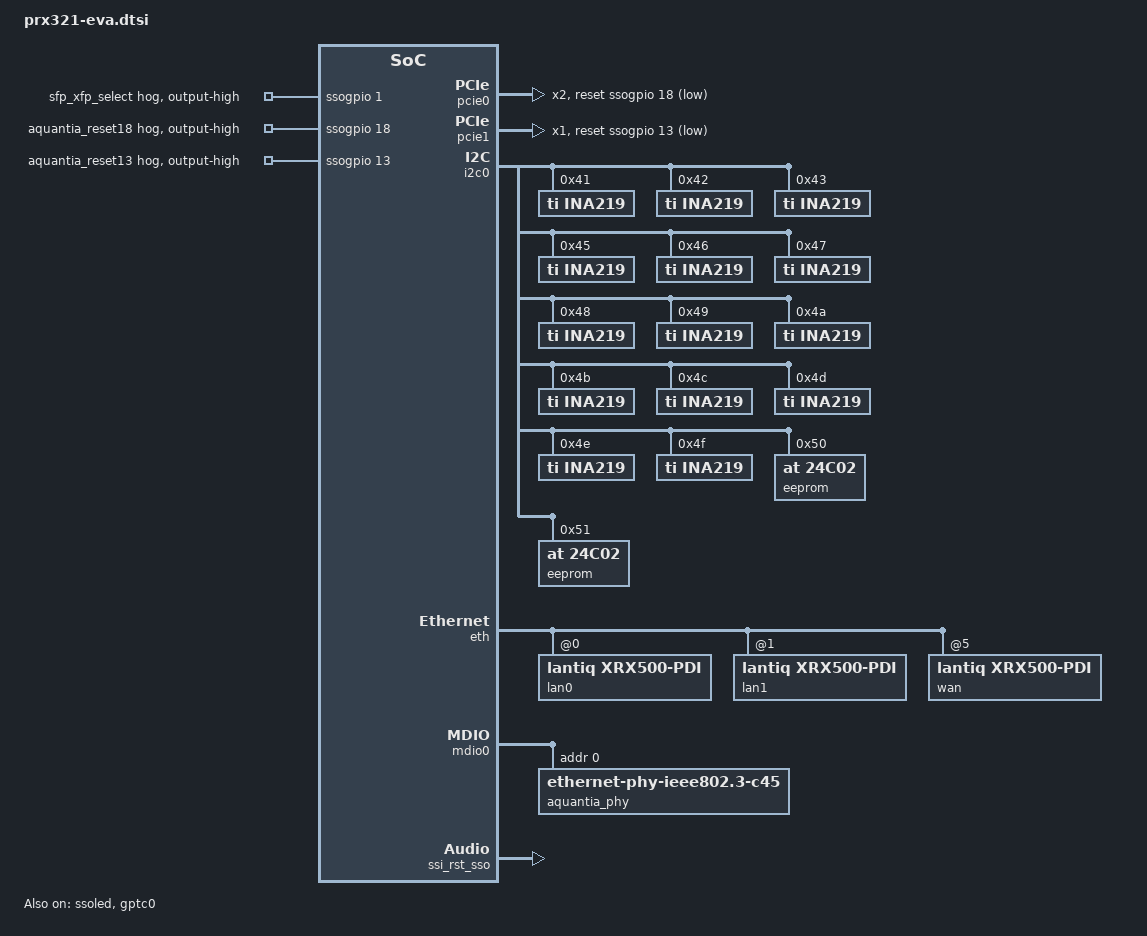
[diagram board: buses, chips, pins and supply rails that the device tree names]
#include <dt-bindings/interrupt-controller/mips-gic.h>
#include <dt-bindings/gpio/gpio.h>
#include "prx300.dtsi"

/******************************************************************************
 ** Board configuration: Enable PCIe board configuration.
 ** PCIE sub-system feature configuration, the pcie0/1 are defined in Soc level
 ******************************************************************************/
&pcie0 {
	intel,rst-interval = <200>;
	intel,inbound-swap = <1>;
	intel,outbound-swap = <0>;
	reset-gpios = <&ssogpio 18 GPIO_ACTIVE_LOW>;
	num-lanes = <2>;
};

&pcie1 {
	intel,rst-interval = <200>;
	intel,inbound-swap = <1>;
	intel,outbound-swap = <0>;
	reset-gpios = <&ssogpio 13 GPIO_ACTIVE_LOW>;
	num-lanes = <1>;
};

/******************************************************************************
 ** Board configuration: Enable dect SS.
 ******************************************************************************/
/ {
	dect {
		compatible = "intel,inteldect";
		interrupts = <21 IRQ_TYPE_EDGE_FALLING>;
		interrupt-parent = <&gpio0>;
		intel,dect-cs = <&gpio0 29 0>;
		intel,dect-reset = <&ssogpio 19 0>;
		status = "disabled";
	};
	dect-page-intel {
		compatible = "intel,inteldect-page";
		lantiq,pagebit= <1>; /*DECT Page Bit: Bit info meant for DECT*/
		lantiq,pagepin= <&gpio0 28 0>;
		status = "disabled";
	};
};

/******************************************************************************
 ** Board configuration: Enable Shift register LED board configuration.
 ******************************************************************************/
&ssogpio {
	status = "okay";
	intel,sso-update-rate = <250000>;
	/* Shift clk freq: 25MHz, 12.5MHz, 6.25MHz, 3.125Mz */
	intel,sso-shift-clk-freq = <6250000>;

	/* Select the WAN SFP cage over the WAN XFP cage in ref 1.2 */
	sfp_xfp_select {
		gpio-hog;
		gpios = <1 GPIO_ACTIVE_HIGH>;
		output-high;
		line-name = "sfp_xfp_select";
	};

	/* Aquantia PHY reset on board rev 1.1 only */
	aquantia_reset18 {
		gpio-hog;
		gpios = <18 GPIO_ACTIVE_HIGH>;
		output-high;
		line-name = "aquantia_reset18";
	};

	/* Aquantia PHY reset on board rev 1.2 and later */
	aquantia_reset13 {
		gpio-hog;
		gpios = <13 GPIO_ACTIVE_HIGH>;
		output-high;
		line-name = "aquantia_reset13";
	};
};

&ssoled {
	status = "okay";

	/* led definition */
	intel,sso-def-brightness = <0>; /* default off */
	/*
	 * All pin numbers here are (31-original number) for the V1.1 board.
	 * TODO: Define default jumpers for the other LEDs!
	 *
	 * Deactivate the pins which conflict with some non SW LEDs in
	 * Ref 1.2 boards.
	 */
	led4: led4 {
		status = "disabled";
		label = "led4:green:sw";
		led-gpio = <&ssogpio 4 0>;
		intel,led-pin = <4>;
	};
	led5: led5 {
		status = "disabled";
		label = "led5:green:sw";
		led-gpio = <&ssogpio 5 0>;
		intel,led-pin = <5>;
	};
	led6: led6 {
		label = "led6:green:sw";
		led-gpio = <&ssogpio 6 0>;
		intel,led-pin = <6>;
	};
	led7: led7 {
		status = "disabled";
		label = "led7:green:sw";
		led-gpio = <&ssogpio 7 0>;
		intel,led-pin = <7>;
	};
};

/******************************************************************************
 ** Board configuration: Enable CoC power management board feature
 ******************************************************************************/
&i2c0 {
	status = "okay";

	/* power monitor */
	ina219@41 {
		compatible = "ti,ina219";
		reg = <0x41>;
		shunt-resistor = <10000>;
		rail-name = "PWR_12V";
	};

	ina219@42 {
		compatible = "ti,ina219";
		reg = <0x42>;
		shunt-resistor = <10000>;
		rail-name = "PWR_3V3";
	};

	ina219@43 {
		compatible = "ti,ina219";
		reg = <0x43>;
		shunt-resistor = <10000>;
		rail-name = "PWR_1V2_1V35";
	};

	ina219@45 {
		compatible = "ti,ina219";
		reg = <0x45>;
		shunt-resistor = <10000>;
		rail-name = "PWR_0V9";
	};

	ina219@46 {
		compatible = "ti,ina219";
		reg = <0x46>;
		shunt-resistor = <10000>;
		rail-name = "PWR_1V8";
	};

	ina219@47 {
		compatible = "ti,ina219";
		reg = <0x47>;
		shunt-resistor = <10000>;
		rail-name = "PWR_1V5";
	};

	ina219@48 {
		compatible = "ti,ina219";
		reg = <0x48>;
		shunt-resistor = <10000>;
		rail-name = "PWR_1V1";
	};

	ina219@49 {
		compatible = "ti,ina219";
		reg = <0x49>;
		shunt-resistor = <10000>;
		rail-name = "PWR_1V8_3V3";
	};

	ina219@4a {
		compatible = "ti,ina219";
		reg = <0x4a>;
		shunt-resistor = <10000>;
		rail-name = "PWR_3V3_TID0";
	};

	ina219@4b {
		compatible = "ti,ina219";
		reg = <0x4b>;
		shunt-resistor = <10000>;
		rail-name = "PWR_3V3_SFP";
	};

	ina219@4c {
		compatible = "ti,ina219";
		reg = <0x4c>;
		shunt-resistor = <10000>;
		rail-name = "PWR_3V3_TID1";
	};

	ina219@4d {
		compatible = "ti,ina219";
		reg = <0x4d>;
		shunt-resistor = <10000>;
		rail-name = "PWR_3V3_SHR";
	};

	ina219@4e {
		compatible = "ti,ina219";
		reg = <0x4e>;
		shunt-resistor = <10000>;
		rail-name = "PWR_3V3_WAN";
	};

	ina219@4f {
		compatible = "ti,ina219";
		reg = <0x4f>;
		shunt-resistor = <10000>;
		rail-name = "PWR_2V5";
	};

	/* EEPROM of the optical WAN transceiver */
	eeprom@50 {
		compatible = "at,24c02";
		reg = <0x50>;
	};
	eeprom@51 {
		compatible = "at,24c02";
		reg = <0x51>;
	};
};

/******************************************************************************
 ** Board configuration: Enable SSC1 to support standard SPI devices (SPI Flash)
 ******************************************************************************/
/*
&ssc1 {
		status="okay";
		mt29f@0 {
				#address-cells = <1>;
				#size-cells = <1>;
				reg = <0 1>;
				compatible = "spinand,mt29f";
				linux,modalias = "mt29f";
				spi-max-frequency = <1000000>;

				partition@0 {
					label = "uboot";
					reg = <0x000000 0x100000>;
				};

				partition@100000 {
					label = "data";
					reg = <0x100000 0x1000000>;
				};

				partition@1100000 {
					label = "res";
					reg = <0x1100000 0x6E00000>;
				};
			};
};
*/
/******************************************************************************
 ** Board configuration: Configure LAN/WAN interfaces
 ******************************************************************************/
&eth {
	status = "okay";

	lan0: interface@0 {
		compatible = "lantiq,xrx500-pdi";
		#address-cells = <1>;
		#size-cells = <0>;
		reg = <0>;
		intel,dp-dev-port = <3>;
		intel,dp-port-id = <3>;
		mac = <&gsw_mac1>;
		intel,lct-en = <1>;
		intel,extra-subif = <3>;

		ethernet@1 {
			compatible = "lantiq,xrx500-pdi-port";
			reg = <1>;
			phy-mode = "rgmii";
			phy-handle = <&aquantia_phy>;
		};
	};

	lan1: interface@1 {
		compatible = "lantiq,xrx500-pdi";
		#address-cells = <1>;
		#size-cells = <0>;
		reg = <1>;
		intel,dp-dev-port = <4>;
		intel,dp-port-id = <4>;
		mac = <&gsw_mac2>;
		intel,lct-en = <1>;
		intel,extra-subif = <3>;

		lan1_eth: ethernet@1 {
			compatible = "lantiq,xrx500-pdi-port";
			reg = <2>;
			phy-mode = "rgmii";
		};
	};

	wan: interface@5 {
		compatible = "lantiq,xrx500-pdi";
		#address-cells = <1>;
		#size-cells = <0>;
		reg = <5>;
		lantiq,wan = <1>;
		intel,dp-dev-port = <2>;
		intel,dp-port-id = <2>;
		mac = <&gsw_mac0>;

		ethernet@5 {
			compatible = "lantiq,xrx500-pdi-port";
			reg = <1>;
			phy-mode = "rgmii";
		};
	};
};

/* xgmac mdio pins */
&gsw_mac1 {
	pinctrl-names = "default";
	pinctrl-0 = <&pinctrl_mdio0>;
};

/* mdio0 bus */
&mdio0 {
	#address-cells = <1>;
	#size-cells = <0>;
	aquantia_phy: ethernet-phy@0 {
		reg = <0x0>;
		compatible = "ethernet-phy-ieee802.3-c45";
	};
};

/* This is needed to improve qspi stability on the board */
&pinctrl_qspi {
	intel,slew-rate = <1>;
	intel,drive-current = <3>;
};

&pinctrl_spi0_alt {
	intel,slew-rate = <1>;
	intel,drive-current = <3>;
};

&pinctrl_spi0_cs_alt {
	intel,slew-rate = <1>;
	intel,drive-current = <3>;
};

&ssc0 {
	pinctrl-0 = <&pinctrl_spi0_alt &pinctrl_spi0_cs_alt>;

	ltq-spinand@1 {
		status = "disabled";
		#address-cells = <1>;
		#size-cells = <1>;
		reg = <1>;
		compatible = "lantiq,spinand";
		linux,mtd-name = "nand.0";
		spi-max-frequency = <15384615>;
	};

	mx25l12835f@1 {
		status = "disabled";
		#address-cells = <1>;
		#size-cells = <1>;
		compatible = "jedec,spi-nor";
		reg = <1>;
		spi-max-frequency = <15384615>;
	};
};

&qspi0 {
	ltq-spinand@0 {
		status = "disabled";
		#address-cells = <1>;
		#size-cells = <1>;
		compatible = "lantiq,spinand";
		reg = <0 1>;
		linux,mtd-name = "nand.0";
		spi-max-frequency = <50000000>;
		page-size = <2048>;
		block-size = <17>; // 2^17, 128KB
		spi-tx-bus-width = <4>;
		spi-rx-bus-width = <4>;

		/* Read-delay is needed for higher freq.
		 * 2 ref_clk is chosen as value that works well upto
		 * spi-freq 50MHz (with ref_clk 100MHz).
		 */
		read-delay = <2>;
		tshsl-ns = <200>;
		tsd2d-ns = <255>;
		tchsh-ns = <20>;
		tslch-ns = <20>;
	};

	mx25l12835f@0 {
		status = "disabled";
		#address-cells = <1>;
		#size-cells = <1>;
		compatible = "jedec,spi-nor";
		reg = <0 1>;
		page-size = <256>;
		block-size = <16>; // 2^16, 64KB
		spi-max-frequency = <50000000>;
		spi-tx-bus-width = <4>;
		spi-rx-bus-width = <4>;

		/* Read-delay is needed for higher freq.
		 * 2 ref_clk is chosen as value that works well upto
		 * spi-freq 50MHz (with ref_clk 100MHz).
		 */
		read-delay = <2>;
		tshsl-ns = <200>;
		tsd2d-ns = <255>;
		tchsh-ns = <20>;
		tslch-ns = <20>;
	};
};

&wan_xpcs {
	status = "disabled";
	xpcs-conntype = "SFP"; /* SFP or PHY */
};

&lan_xpcs0 {
	status = "disabled";
	xpcs-conntype = "SFP"; /* SFP or PHY */
	xpcs-mode = <0>; /* 0 - 10G_KR_MODE, 1 - 10G_XAUI_MODE, 2 - 1G_XAUI_MODE, 3 - 2P5G_GMII_MODE */
};

&lan_xpcs1 {
	status = "disabled";
	xpcs-conntype = "SFP"; /* SFP or PHY */
};

/******************************************************************************
 ** Board configuration: Enable voice
 ******************************************************************************/

/* use CPU1 for voice firmware */
&cpu1 {
	default-OS = "VOICEFW";
};

/* Use SSO pin 15 for SLC220 reset.
   To use GPIO9 as SLC220 reset comment out the ssi_rst_sso and vcodec block. */
&ssi_rst_sso {
	status = "okay";
};

&vcodec {
	pinctrl-0 = <&pinctrl_ssi &pinctrl_ssi_rx>;
};

&gptc0 {
	status = "okay";
	intel,clk = <&clocksource 3 1 0 10>;
};

